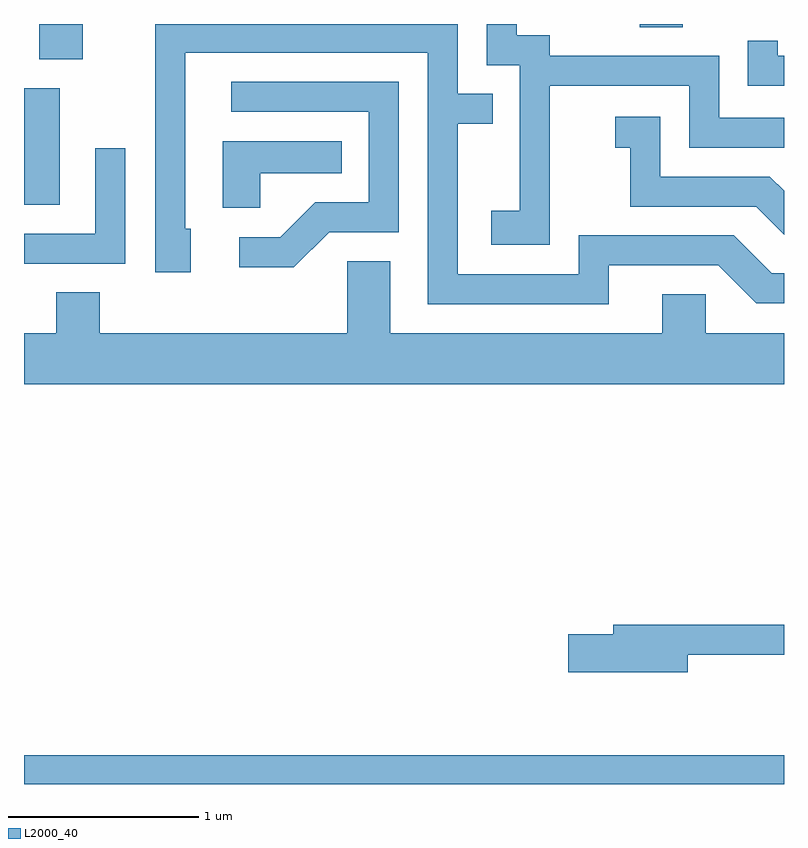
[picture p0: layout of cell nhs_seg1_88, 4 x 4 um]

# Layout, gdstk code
import gdstk
lib = gdstk.Library(unit=1e-6, precision=1e-09)
def R(c, l, rs):  # rectangles x0, y0, x1, y1
    for r in rs: c.add(gdstk.rectangle(r[:2], r[2:], *l))
def P(c, l, *ps):  # polygons
    for p in ps: c.add(gdstk.Polygon(p, *l))
L2000_40 = (2000, 40)

nhs_seg1_88 = lib.new_cell('nhs_seg1_88')
R(nhs_seg1_88, L2000_40, [(187.611,879.712,191.611,879.864), (187.611,882.761,187.799,883.374), (187.691,883.526,187.919,883.712), (190.851,883.696,191.079,883.712)])
P(nhs_seg1_88, L2000_40, [(190.689,882.441),(191.264,882.441),(191.464,882.241),(191.611,882.241),(191.611,882.399),(191.547,882.399),(191.347,882.599),(190.531,882.599),(190.531,882.394),(189.894,882.394),(189.894,883.186),(190.078,883.186),(190.078,883.344),(189.894,883.344),(189.894,883.712),(188.301,883.712),(188.301,882.406),(188.489,882.406),(188.489,882.634),(188.459,882.634),(188.459,883.561),(189.736,883.561),(189.736,882.236),(190.689,882.236)],
  [(190.379,883.386),(191.111,883.386),(191.111,883.061),(191.611,883.061),(191.611,883.219),(191.269,883.219),(191.269,883.544),(190.379,883.544),(190.379,883.654),(190.204,883.654),(190.204,883.712),(190.046,883.712),(190.046,883.496),(190.221,883.496),(190.221,882.729),(190.071,882.729),(190.071,882.551),(190.379,882.551)],
  [(191.611,883.544),(191.579,883.544),(191.579,883.623),(191.421,883.623),(191.421,883.386),(191.611,883.386)],
  [(189.217,882.616),(189.584,882.616),(189.584,883.409),(188.703,883.409),(188.703,883.251),(189.426,883.251),(189.426,882.774),(189.144,882.774),(188.959,882.589),(188.743,882.589),(188.743,882.431),(189.032,882.431)],
  [(191.611,882.835),(191.537,882.909),(190.959,882.909),(190.959,883.224),(190.723,883.224),(190.723,883.061),(190.801,883.061),(190.801,882.751),(191.464,882.751),(191.611,882.604)],
  [(188.854,882.926),(189.283,882.926),(189.283,883.094),(188.656,883.094),(188.656,882.746),(188.854,882.746)],
  [(188.144,883.058),(187.986,883.058),(187.986,882.609),(187.611,882.609),(187.611,882.451),(188.144,882.451)],
  [(191.611,882.084),(191.199,882.084),(191.199,882.289),(190.971,882.289),(190.971,882.084),(189.539,882.084),(189.539,882.464),(189.311,882.464),(189.311,882.084),(188.009,882.084),(188.009,882.299),(187.781,882.299),(187.781,882.084),(187.611,882.084),(187.611,881.816),(191.611,881.816)],
  [(191.104,880.391),(191.611,880.391),(191.611,880.549),(190.711,880.549),(190.711,880.499),(190.476,880.499),(190.476,880.301),(191.104,880.301)])

lib.write_gds('nhs_seg1_88.gds')
